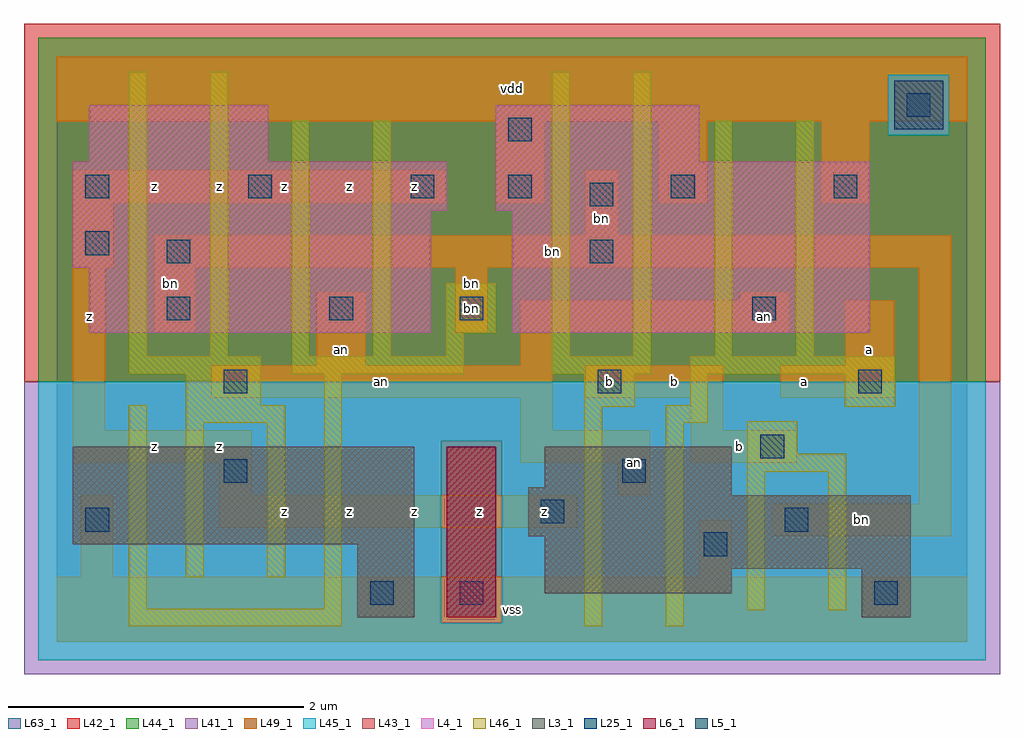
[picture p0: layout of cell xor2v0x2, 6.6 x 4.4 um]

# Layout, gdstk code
import gdstk
lib = gdstk.Library(unit=1e-6, precision=1e-09)
def R(c, l, rs):  # rectangles x0, y0, x1, y1
    for r in rs: c.add(gdstk.rectangle(r[:2], r[2:], *l))
def A(c, l, x, y, w, h, nx, ny, dx, dy):  # array of equal rectangles
    R(c, l, [(x+i*dx, y+j*dy, x+i*dx+w, y+j*dy+h) for i in range(nx) for j in range(ny)])
L3_1 = (3, 1)
L4_1 = (4, 1)
L5_1 = (5, 1)
L6_1 = (6, 1)
L25_1 = (25, 1)
L41_1 = (41, 1)
L42_1 = (42, 1)
L43_1 = (43, 1)
L44_1 = (44, 1)
L45_1 = (45, 1)
L46_1 = (46, 1)
L49_1 = (49, 1)
L63_1 = (63, 1)

xor2v0x2 = lib.new_cell('xor2v0x2')
R(xor2v0x2, L3_1, [(2.035,0.165,2.42,0.66), (5.445,0.165,5.775,0.495), (3.3,0.33,4.565,0.495), (3.3,0.495,5.775,0.715), (0.11,0.66,2.42,1.32), (3.19,0.715,5.775,0.99), (3.19,0.99,4.565,1.045), (3.3,1.045,4.565,1.32)])
R(xor2v0x2, L4_1, [(0.22,2.09,2.53,2.53), (3.08,2.09,5.5,2.915), (0.11,2.53,2.53,2.915), (0.11,2.915,2.64,3.245), (2.97,2.915,5.5,3.245), (0.22,3.245,1.43,3.63), (2.97,3.245,4.345,3.63)])
R(xor2v0x2, L5_1, [(5.665,3.465,5.995,3.795)])
R(xor2v0x2, L6_1, [(2.64,0.165,2.97,1.32)])
A(xor2v0x2, L25_1, 0.195, 3, 0.16, 0.16, 3, 1, 1.1, 0)
A(xor2v0x2, L25_1, 3.055, 3, 0.16, 0.16, 3, 1, 1.1, 0)
R(xor2v0x2, L25_1, [(2.12,0.25,2.28,0.41), (2.725,0.25,2.885,0.41), (5.53,0.25,5.69,0.41), (4.375,0.58,4.535,0.74), (0.195,0.745,0.355,0.905), (4.925,0.745,5.085,0.905), (3.275,0.8,3.435,0.96), (1.13,1.075,1.29,1.235), (3.825,1.075,3.985,1.235), (4.76,1.24,4.92,1.4), (1.13,1.68,1.29,1.84), (3.66,1.68,3.82,1.84), (5.42,1.68,5.58,1.84), (0.745,2.175,0.905,2.335), (1.845,2.175,2.005,2.335), (2.725,2.175,2.885,2.335), (4.705,2.175,4.865,2.335), (0.745,2.56,0.905,2.72), (3.605,2.56,3.765,2.72), (0.195,2.615,0.355,2.775), (3.605,2.945,3.765,3.105), (3.055,3.385,3.215,3.545), (5.75,3.55,5.91,3.71)])
R(xor2v0x2, L41_1, [(-0.22,-0.22,6.38,1.76)])
R(xor2v0x2, L42_1, [(-0.22,1.76,6.38,4.18)])
R(xor2v0x2, L43_1, [(2.035,0.165,2.42,0.66), (2.64,0.165,2.97,1.32), (5.445,0.165,5.775,0.495), (3.3,0.33,4.565,0.495), (3.3,0.495,5.775,0.715), (0.11,0.66,2.42,1.32), (3.19,0.715,5.775,0.99), (3.19,0.99,4.565,1.045), (3.3,1.045,4.565,1.32), (0.22,2.09,2.53,2.53), (3.08,2.09,5.5,2.915), (0.11,2.53,2.53,2.915), (0.11,2.915,2.64,3.245), (2.97,2.915,5.5,3.245), (0.22,3.245,1.43,3.63), (2.97,3.245,4.345,3.63), (5.665,3.465,5.995,3.795)])
R(xor2v0x2, L44_1, [(2.6,0.125,3.01,1.36), (-0.125,1.76,6.285,3.425), (-0.125,3.425,5.625,3.835), (6.035,3.425,6.285,3.835), (-0.125,3.835,6.285,4.085)])
R(xor2v0x2, L45_1, [(-0.125,-0.125,6.285,0.125), (-0.125,0.125,2.6,1.36), (3.01,0.125,6.285,1.36), (-0.125,1.36,6.285,1.76), (5.625,3.425,6.035,3.835)])
R(xor2v0x2, L46_1, [(0.49,0.105,1.93,0.225), (3.57,0.105,3.69,1.59), (4.12,0.105,4.24,1.48), (4.67,0.215,4.79,1.15), (5.22,0.215,5.34,1.15), (0.49,0.225,0.61,1.6), (1.81,0.225,1.93,1.81), (0.875,0.435,0.995,1.48), (1.425,0.435,1.545,1.48), (4.67,1.15,5.34,1.27), (4.67,1.27,5.01,1.49), (0.875,1.48,1.545,1.6), (4.12,1.48,4.405,1.6), (3.57,1.59,3.91,1.81), (5.33,1.59,5.67,1.81), (0.875,1.6,1.38,1.81), (4.285,1.6,4.405,1.81), (0.49,1.81,1.38,1.93), (1.59,1.81,2.755,1.93), (3.35,1.81,4.02,1.93), (4.285,1.81,5.67,1.93), (0.49,1.93,0.61,3.855), (1.04,1.93,1.16,3.855), (1.59,1.93,1.71,3.525), (2.14,1.93,2.26,3.525), (2.635,1.93,2.755,2.085), (3.35,1.93,3.47,3.855), (3.9,1.93,4.02,3.855), (4.45,1.93,4.57,3.525), (5,1.93,5.12,3.525), (2.635,2.085,2.975,2.425)])
A(xor2v0x2, L49_1, 2.97, 2.97, 0.33, 0.55, 3, 1, 1.1, 0)
R(xor2v0x2, L49_1, [(0,0,6.16,0.44), (0.165,0.44,0.385,0.99), (4.345,0.44,4.565,0.825), (4.84,0.715,6.05,0.935), (1.1,0.77,3.52,0.99), (5.83,0.935,6.05,2.53), (1.1,0.99,1.32,1.21), (3.795,0.99,4.015,1.21), (0.11,1.21,1.32,1.43), (3.135,1.21,4.015,1.43), (4.29,1.21,5.005,1.43), (0.11,1.43,0.33,2.53), (3.135,1.43,3.355,1.65), (4.29,1.43,4.51,1.65), (1.045,1.65,3.355,1.87), (3.575,1.65,4.51,1.87), (4.895,1.65,5.665,1.87), (1.76,1.87,2.09,2.365), (3.135,1.87,3.355,2.09), (5.335,1.87,5.665,2.31), (0.66,2.09,0.935,2.53), (2.695,2.09,2.915,2.53), (3.135,2.09,4.95,2.31), (4.62,2.31,4.95,2.365), (0.11,2.53,0.385,2.97), (0.66,2.53,6.05,2.75), (3.575,2.75,3.795,3.19), (0.11,2.97,2.64,3.19), (0,3.52,6.16,3.96)])
R(xor2v0x2, L63_1, [(0,0,6.16,3.96)])
xor2v0x2.add(gdstk.Label('bn', (2.805,2.255), layer=49, texttype=1))
xor2v0x2.add(gdstk.Label('z', (0.66,1.32), layer=49, texttype=1))
xor2v0x2.add(gdstk.Label('z', (0.22,2.2), layer=49, texttype=1))
xor2v0x2.add(gdstk.Label('bn', (0.77,2.42), layer=49, texttype=1))
xor2v0x2.add(gdstk.Label('z', (0.66,3.08), layer=49, texttype=1))
xor2v0x2.add(gdstk.Label('z', (1.98,0.88), layer=49, texttype=1))
xor2v0x2.add(gdstk.Label('z', (1.54,0.88), layer=49, texttype=1))
xor2v0x2.add(gdstk.Label('z', (1.1,1.32), layer=49, texttype=1))
xor2v0x2.add(gdstk.Label('an', (1.925,1.98), layer=49, texttype=1))
xor2v0x2.add(gdstk.Label('z', (1.98,3.08), layer=49, texttype=1))
xor2v0x2.add(gdstk.Label('z', (1.54,3.08), layer=49, texttype=1))
xor2v0x2.add(gdstk.Label('z', (1.1,3.08), layer=49, texttype=1))
xor2v0x2.add(gdstk.Label('vss', (3.08,0.22), layer=49, texttype=1))
xor2v0x2.add(gdstk.Label('z', (3.3,0.88), layer=49, texttype=1))
xor2v0x2.add(gdstk.Label('z', (2.86,0.88), layer=49, texttype=1))
xor2v0x2.add(gdstk.Label('z', (2.42,0.88), layer=49, texttype=1))
xor2v0x2.add(gdstk.Label('an', (2.2,1.76), layer=49, texttype=1))
xor2v0x2.add(gdstk.Label('bn', (2.805,2.42), layer=49, texttype=1))
xor2v0x2.add(gdstk.Label('z', (2.42,3.08), layer=49, texttype=1))
xor2v0x2.add(gdstk.Label('vdd', (3.08,3.74), layer=49, texttype=1))
xor2v0x2.add(gdstk.Label('an', (3.905,1.21), layer=49, texttype=1))
xor2v0x2.add(gdstk.Label('b', (4.62,1.32), layer=49, texttype=1))
xor2v0x2.add(gdstk.Label('b', (4.18,1.76), layer=49, texttype=1))
xor2v0x2.add(gdstk.Label('b', (3.74,1.76), layer=49, texttype=1))
xor2v0x2.add(gdstk.Label('an', (4.785,2.2), layer=49, texttype=1))
xor2v0x2.add(gdstk.Label('bn', (3.685,2.86), layer=49, texttype=1))
xor2v0x2.add(gdstk.Label('bn', (5.445,0.825), layer=49, texttype=1))
xor2v0x2.add(gdstk.Label('a', (5.06,1.76), layer=49, texttype=1))
xor2v0x2.add(gdstk.Label('a', (5.5,1.98), layer=49, texttype=1))
xor2v0x2.add(gdstk.Label('bn', (3.355,2.64), layer=49, texttype=1))

lib.write_gds('xor2v0x2.gds')
